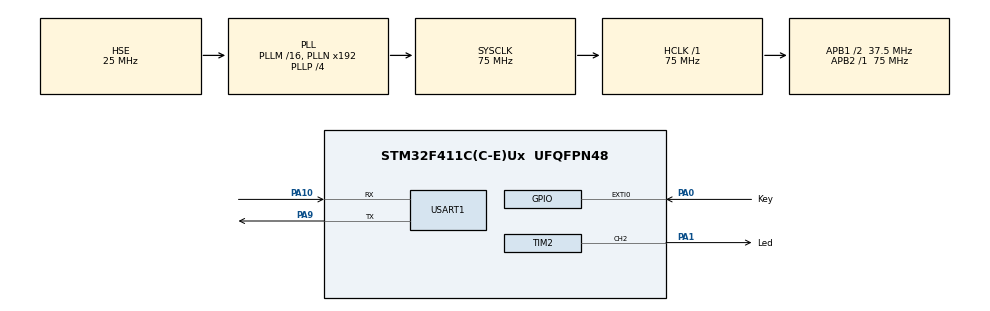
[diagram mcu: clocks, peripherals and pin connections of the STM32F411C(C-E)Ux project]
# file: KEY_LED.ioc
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FREERTOS.Tasks01=defaultTask,24,128,StartDefaultTask,Default,NULL,Dynamic,NULL,NULL
Mcu.Family=STM32F4
Mcu.Name=STM32F411C(C-E)Ux
Mcu.Package=UFQFPN48
NVIC.EXTI0_IRQn=true\:5\:0\:false\:false\:true\:true\:true\:true\:true
NVIC.PriorityGroup=NVIC_PRIORITYGROUP_4
NVIC.TIM1_TRG_COM_TIM11_IRQn=true\:15\:0\:false\:false\:true\:false\:false\:true\:true
NVIC.TIM2_IRQn=true\:5\:0\:false\:false\:true\:true\:true\:true\:true
NVIC.TimeBase=TIM1_TRG_COM_TIM11_IRQn
NVIC.TimeBaseIP=TIM11
PA0-WKUP.GPIO_Label=Key
PA0-WKUP.GPIO_ModeDefaultEXTI=GPIO_MODE_IT_FALLING
PA0-WKUP.GPIO_PuPd=GPIO_PULLUP
PA0-WKUP.Signal=GPXTI0
PA1.GPIO_Label=Led
PA1.Signal=S_TIM2_CH2
PA10.Mode=Asynchronous
PA10.Signal=USART1_RX
PA13.Mode=Serial_Wire
PA13.Signal=SYS_JTMS-SWDIO
PA14.Mode=Serial_Wire
PA14.Signal=SYS_JTCK-SWCLK
PA9.Mode=Asynchronous
PA9.Signal=USART1_TX
PC14-OSC32_IN.Mode=LSE-External-Oscillator
PC14-OSC32_IN.Signal=RCC_OSC32_IN
PC15-OSC32_OUT.Mode=LSE-External-Oscillator
PC15-OSC32_OUT.Signal=RCC_OSC32_OUT
PH0\ -\ OSC_IN.Mode=HSE-External-Oscillator
PH0\ -\ OSC_IN.Signal=RCC_OSC_IN
PH1\ -\ OSC_OUT.Mode=HSE-External-Oscillator
PH1\ -\ OSC_OUT.Signal=RCC_OSC_OUT
ProjectManager.HeapSize=0x200
ProjectManager.StackSize=0x400
ProjectManager.TargetToolchain=MDK-ARM V5.32
RCC.48MHZClocksFreq_Value=75000000
RCC.AHBFreq_Value=75000000
RCC.APB1CLKDivider=RCC_HCLK_DIV2
RCC.APB1Freq_Value=37500000
RCC.APB1TimFreq_Value=75000000
RCC.APB2Freq_Value=75000000
RCC.APB2TimFreq_Value=75000000
RCC.CortexFreq_Value=75000000
RCC.HCLKFreq_Value=75000000
RCC.HSE_VALUE=25000000
RCC.HSI_VALUE=16000000
RCC.PLLP=RCC_PLLP_DIV4
RCC.PLLSourceVirtual=RCC_PLLSOURCE_HSE
RCC.SYSCLKFreq_VALUE=75000000
RCC.SYSCLKSource=RCC_SYSCLKSOURCE_PLLCLK
RCC.VCOOutputFreq_Value=300000000
SH.S_TIM2_CH2.0=TIM2_CH2,PWM Generation2 CH2
TIM2.Channel-PWM\ Generation2\ CH2=TIM_CHANNEL_2
TIM2.Period=2000-1
TIM2.Prescaler=7500-1
TIM2.Pulse-PWM\ Generation2\ CH2=1000
USART1.VirtualMode=VM_ASYNC
VP_FREERTOS_VS_CMSIS_V2.Mode=CMSIS_V2
VP_SYS_VS_tim11.Mode=TIM11
VP_TIM2_VS_ClockSourceINT.Mode=Internal
board=custom

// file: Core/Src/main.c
/* USER CODE BEGIN Header */
/**
  ******************************************************************************
  * @file           : main.c
  * @brief          : Main program body
  ******************************************************************************
  * @attention
  *
  * Copyright (c) 2026 STMicroelectronics.
  * All rights reserved.
  *
  * This software is licensed under terms that can be found in the LICENSE file
  * in the root directory of this software component.
  * If no LICENSE file comes with this software, it is provided AS-IS.
  *
  ******************************************************************************
  */
/* USER CODE END Header */
#include "main.h"
#include "cmsis_os.h"
#include "tim.h"
#include "usart.h"
#include "gpio.h"

void SystemClock_Config(void);
void MX_FREERTOS_Init(void);

int main(void)
{

  /* MCU Configuration--------------------------------------------------------*/

  /* Reset of all peripherals, Initializes the Flash interface and the Systick. */
  HAL_Init();

  /* Configure the system clock */
  SystemClock_Config();

  /* Initialize all configured peripherals */
  MX_GPIO_Init();
  MX_USART1_UART_Init();
  MX_TIM2_Init();

  /* Init scheduler */
  osKernelInitialize();  /* Call init function for freertos objects (in freertos.c) */
  MX_FREERTOS_Init();

  /* Start scheduler */
  osKernelStart();
  /* We should never get here as control is now taken by the scheduler */
  /* Infinite loop */
  while (1)
  {

  }
}

void SystemClock_Config(void)
{
  RCC_OscInitTypeDef RCC_OscInitStruct = {0};
  RCC_ClkInitTypeDef RCC_ClkInitStruct = {0};

  /** Configure the main internal regulator output voltage
  */
  __HAL_RCC_PWR_CLK_ENABLE();
  __HAL_PWR_VOLTAGESCALING_CONFIG(PWR_REGULATOR_VOLTAGE_SCALE1);

  /** Initializes the RCC Oscillators according to the specified parameters
  * in the RCC_OscInitTypeDef structure.
  */
  RCC_OscInitStruct.OscillatorType = RCC_OSCILLATORTYPE_HSE;
  RCC_OscInitStruct.HSEState = RCC_HSE_ON;
  RCC_OscInitStruct.PLL.PLLState = RCC_PLL_ON;
  RCC_OscInitStruct.PLL.PLLSource = RCC_PLLSOURCE_HSE;
  RCC_OscInitStruct.PLL.PLLM = 16;
  RCC_OscInitStruct.PLL.PLLN = 192;
  RCC_OscInitStruct.PLL.PLLP = RCC_PLLP_DIV4;
  RCC_OscInitStruct.PLL.PLLQ = 4;
  if (HAL_RCC_OscConfig(&RCC_OscInitStruct) != HAL_OK)
  {
    Error_Handler();
  }

  /** Initializes the CPU, AHB and APB buses clocks
  */
  RCC_ClkInitStruct.ClockType = RCC_CLOCKTYPE_HCLK|RCC_CLOCKTYPE_SYSCLK
                              |RCC_CLOCKTYPE_PCLK1|RCC_CLOCKTYPE_PCLK2;
  RCC_ClkInitStruct.SYSCLKSource = RCC_SYSCLKSOURCE_PLLCLK;
  RCC_ClkInitStruct.AHBCLKDivider = RCC_SYSCLK_DIV1;
  RCC_ClkInitStruct.APB1CLKDivider = RCC_HCLK_DIV2;
  RCC_ClkInitStruct.APB2CLKDivider = RCC_HCLK_DIV1;

  if (HAL_RCC_ClockConfig(&RCC_ClkInitStruct, FLASH_LATENCY_2) != HAL_OK)
  {
    Error_Handler();
  }
}

void HAL_TIM_PeriodElapsedCallback(TIM_HandleTypeDef *htim)
{
  /* USER CODE BEGIN Callback 0 */
	if (htim->Instance == TIM2)
  {
    if (1 == g_led_ctrl.led_pwm_running)
    {
      g_led_ctrl.led_current_times++;
      if (g_led_ctrl.led_current_times >= g_led_ctrl.led_flash_times)
      {
        HAL_TIM_Base_Stop_IT(&htim2);
        HAL_TIM_PWM_Stop(&htim2, TIM_CHANNEL_2); // 停止PWM输出

        __HAL_TIM_SET_COUNTER(&htim2, 0); // 重置计数�?
        g_led_ctrl.led_pwm_running = 0;
        g_led_ctrl.led_current_times = 0;
      }
    }
  }
  /* USER CODE END Callback 0 */
  if (htim->Instance == TIM11) {
    HAL_IncTick();
  }
}

void Error_Handler(void)
{
  __disable_irq();
  while (1)
  {
  }
}

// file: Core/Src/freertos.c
/* USER CODE BEGIN Header */
/**
  ******************************************************************************
  * File Name          : freertos.c
  * Description        : Code for freertos applications
  ******************************************************************************
  * @attention
  *
  * Copyright (c) 2026 STMicroelectronics.
  * All rights reserved.
  *
  * This software is licensed under terms that can be found in the LICENSE file
  * in the root directory of this software component.
  * If no LICENSE file comes with this software, it is provided AS-IS.
  *
  ******************************************************************************
  */
/* USER CODE END Header */

#include "FreeRTOS.h"
#include "task.h"
#include "main.h"
#include "cmsis_os.h"

/* USER CODE BEGIN Includes */
#include "queue.h"
#include "bsp_key_irq.h"
#include "bsp_led.h"
#include "SEGGER_RTT.h"
/* USER CODE END Includes */

/* Definitions for defaultTask */
osThreadId_t defaultTaskHandle;
const osThreadAttr_t defaultTask_attributes = {
  .name = "defaultTask",
  .stack_size = 128 * 4,
  .priority = (osPriority_t) osPriorityNormal,
};

void StartDefaultTask(void *argument);

void MX_FREERTOS_Init(void); /* (MISRA C 2004 rule 8.1) */

void MX_FREERTOS_Init(void) {

  /* Create the thread(s) */
  /* creation of defaultTask */
  defaultTaskHandle = osThreadNew(StartDefaultTask, NULL, &defaultTask_attributes);

  /* USER CODE BEGIN RTOS_THREADS */
//  /* add threads, ... */
  keyTaskHandle = osThreadNew(StartkeyTask, NULL, &keyTask_attributes);
  ledTaskHandle = osThreadNew(StartledTask, NULL, &ledTask_attributes);
  /* USER CODE END RTOS_THREADS */

}

void StartDefaultTask(void *argument)
{
  /* USER CODE BEGIN StartDefaultTask */
//	key_press_status_t key_event;
  /* Infinite loop */
  for(;;)
  {
    printf("%.2f\n", 3.14f);
    osDelay(1000);
  }
  /* USER CODE END StartDefaultTask */
}
